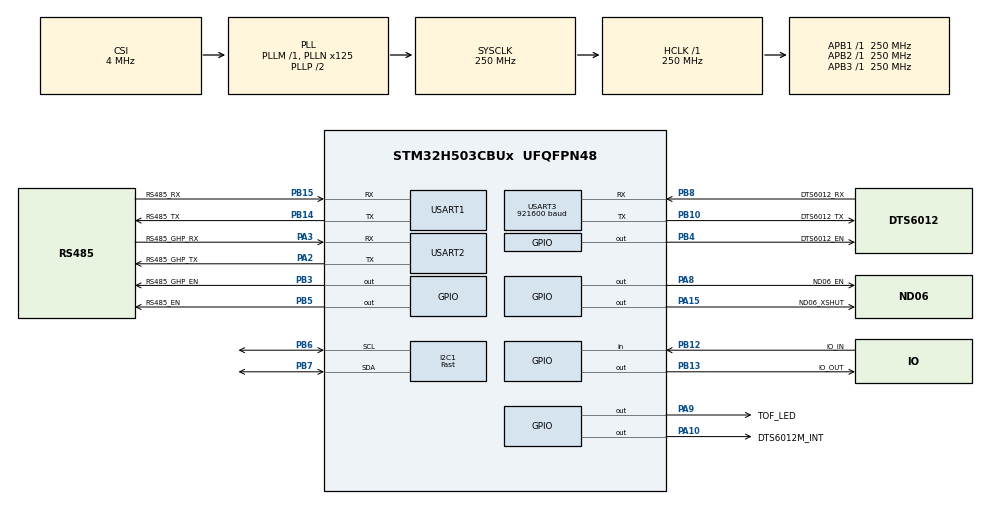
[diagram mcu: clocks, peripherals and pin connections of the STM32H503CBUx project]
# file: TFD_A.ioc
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BOOTPATH.BootPathName=LEGACY
BOOTPATH.UserSelectedBootPath=LEGACY
GPDMA1.CIRCULARMODE_GPDMACH0=ENABLE
GPDMA1.DESTINC_GPDMACH0=DMA_DINC_INCREMENTED
GPDMA1.IPHANDLE_GPDMACH0-SIMPLEREQUEST_GPDMACH0=__NULL
GPDMA1.PRIORITY_LL_CIRCULAR_GPDMACH0=DMA_LOW_PRIORITY_MID_WEIGHT
GPDMA1.REQUEST_GPDMACH0=GPDMA1_REQUEST_USART3_RX
I2C1.I2C_Fall_Time=300
I2C1.I2C_Rise_Time=300
I2C1.I2C_Speed_Mode=I2C_Fast
I2C1.Timing=0x70C81026
IWDG.Prescaler=IWDG_PRESCALER_256
IWDG.Reload=128
IWDG.Window=256
Mcu.Family=STM32H5
Mcu.Name=STM32H503CBUx
Mcu.Package=UFQFPN48
NVIC.GPDMA1_Channel0_IRQn=true\:0\:0\:false\:false\:true\:false\:true\:true
NVIC.PriorityGroup=NVIC_PRIORITYGROUP_4
NVIC.USART1_IRQn=true\:2\:0\:true\:false\:true\:true\:true\:true
NVIC.USART2_IRQn=true\:1\:0\:true\:false\:true\:true\:true\:true
NVIC.USART3_IRQn=true\:0\:0\:false\:false\:true\:true\:true\:true
PA10.GPIO_Label=DTS6012M_INT
PA10.GPIO_PuPd=GPIO_PULLDOWN
PA10.Signal=GPIO_Output
PA15(JTDI).GPIO_Label=ND06_XSHUT
PA15(JTDI).Signal=GPIO_Output
PA2.GPIO_Label=RS485_GHP_TX
PA2.GPIO_ModeDefaultPP=GPIO_MODE_AF_PP
PA2.GPIO_PuPd=GPIO_NOPULL
PA2.GPIO_Speed=GPIO_SPEED_FREQ_LOW
PA2.Mode=Asynchronous
PA2.Signal=USART2_TX
PA3.GPIO_Label=RS485_GHP_RX
PA3.GPIO_ModeDefaultPP=GPIO_MODE_AF_PP
PA3.GPIO_PuPd=GPIO_NOPULL
PA3.GPIO_Speed=GPIO_SPEED_FREQ_LOW
PA3.Mode=Asynchronous
PA3.Signal=USART2_RX
PA8.GPIO_Label=ND06_EN
PA8.Signal=GPIO_Output
PA9.GPIO_Label=TOF_LED
PA9.PinState=GPIO_PIN_SET
PA9.Signal=GPIO_Output
PB10.GPIO_Label=DTS6012_TX
PB10.GPIO_ModeDefaultPP=GPIO_MODE_AF_PP
PB10.GPIO_PuPd=GPIO_PULLDOWN
PB10.Mode=Asynchronous
PB10.Signal=USART3_TX
PB12.GPIO_Label=IO_IN
PB12.Signal=GPIO_Input
PB13.GPIO_Label=IO_OUT
PB13.GPIO_Speed=GPIO_SPEED_FREQ_HIGH
PB13.PinState=GPIO_PIN_SET
PB13.Signal=GPIO_Output
PB14.GPIO_Label=RS485_TX
PB14.GPIO_ModeDefaultPP=GPIO_MODE_AF_PP
PB14.GPIO_PuPd=GPIO_NOPULL
PB14.GPIO_Speed=GPIO_SPEED_FREQ_LOW
PB14.Mode=Asynchronous
PB14.Signal=USART1_TX
PB15.GPIO_Label=RS485_RX
PB15.GPIO_ModeDefaultPP=GPIO_MODE_AF_PP
PB15.GPIO_PuPd=GPIO_NOPULL
PB15.GPIO_Speed=GPIO_SPEED_FREQ_LOW
PB15.Mode=Asynchronous
PB15.Signal=USART1_RX
PB3(JTDO/TRACESWO).GPIO_Label=RS485_GHP_EN
PB3(JTDO/TRACESWO).GPIO_Speed=GPIO_SPEED_FREQ_HIGH
PB3(JTDO/TRACESWO).Signal=GPIO_Output
PB4(NJTRST).GPIO_Label=DTS6012_EN
PB4(NJTRST).Signal=GPIO_Output
PB5.GPIO_Label=RS485_EN
PB5.GPIO_PuPd=GPIO_PULLUP
PB5.GPIO_Speed=GPIO_SPEED_FREQ_HIGH
PB5.Signal=GPIO_Output
PB6.Mode=I2C
PB6.Signal=I2C1_SCL
PB7.Mode=I2C
PB7.Signal=I2C1_SDA
PB8.GPIO_FM8=SBS_FASTMODEPLUS_PB8
PB8.GPIO_Label=DTS6012_RX
PB8.GPIO_ModeDefaultPP=GPIO_MODE_AF_PP
PB8.GPIO_PuPd=GPIO_NOPULL
PB8.GPIO_Speed=GPIO_SPEED_FREQ_HIGH
PB8.Mode=Asynchronous
PB8.Signal=USART3_RX
ProjectManager.HeapSize=0x200
ProjectManager.StackSize=0x400
ProjectManager.TargetToolchain=MDK-ARM V5.37
RCC.ADCFreq_Value=250000000
RCC.AHBFreq_Value=250000000
RCC.APB1Freq_Value=250000000
RCC.APB1TimFreq_Value=250000000
RCC.APB2Freq_Value=250000000
RCC.APB2TimFreq_Value=250000000
RCC.APB3Freq_Value=250000000
RCC.CSI_VALUE=4000000
RCC.CortexFreq_Value=250000000
RCC.EPOD_VALUE=4000000
RCC.HCLKFreq_Value=250000000
RCC.HSE_VALUE=25000000
RCC.HSI48_VALUE=48000000
RCC.HSI_VALUE=64000000
RCC.LSE_VALUE=32768
RCC.LSIRC_VALUE=32000
RCC.PLLFRACN=0
RCC.PLLN=125
RCC.SYSCLKFreq_VALUE=250000000
RCC.SYSCLKSource=RCC_SYSCLKSOURCE_PLLCLK
RCC.USBFreq_Value=48000000
RCC.VCOOutputFreq_Value=500000000
USART1.VirtualMode-Asynchronous=VM_ASYNC
USART2.VirtualMode-Asynchronous=VM_ASYNC
USART3.BaudRate=921600
USART3.OverrunDisableParam=ADVFEATURE_OVERRUN_DISABLE
USART3.VirtualMode-Asynchronous=VM_ASYNC
VP_BOOTPATH_VS_BOOTPATH.Mode=BP_Activate
VP_CORTEX_M33_NS_VS_Hclk.Mode=Hclk_Mode
VP_GPDMA1_VS_GPDMACH0.Mode=SIMPLEREQUEST_GPDMACH0
VP_ICACHE_VS_ICACHE.Mode=DirectMappedCache
VP_IWDG_VS_IWDG.Mode=IWDG_Activate
VP_MEMORYMAP_VS_MEMORYMAP.Mode=CurAppReg
VP_PWR_VS_DBSignals.Mode=DisableDeadBatterySignals
VP_PWR_VS_LPOM.Mode=PowerOptimisation
VP_PWR_VS_SECSignals.Mode=Security/Privilege
VP_RTC_VS_RTC_Activate.Mode=RTC_Enabled
board=custom

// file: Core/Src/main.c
/* USER CODE BEGIN Header */
/**
 ******************************************************************************
 * @file           : main.c
 * @brief          : Main program body
 ******************************************************************************
 * @attention
 *
 * Copyright (c) 2025 STMicroelectronics.
 * All rights reserved.
 *
 * This software is licensed under terms that can be found in the LICENSE file
 * in the root directory of this software component.
 * If no LICENSE file comes with this software, it is provided AS-IS.
 *
 ******************************************************************************
 */
/* USER CODE END Header */
#include "main.h"
#include "gpdma.h"
#include "i2c.h"
#include "icache.h"
#include "iwdg.h"
#include "memorymap.h"
#include "rtc.h"
#include "usart.h"
#include "gpio.h"

/* USER CODE BEGIN Includes */

#include "PDA_Communication.h"
#include "dts6012m.h"
#include "elevatorSignalMonitor.h"
#include "nd06av1c_app.h"
#include "nd06av1c_comm.h"
#include "nd06av1c_data.h"
#include "nd06av1c_def.h"
#include "nd06av1c_dev.h"
#include "platform.h"
#include "rs485.h"
#include "sensorAppLogic.h"
#include "sensorParaTable.h"
#include "stdbool.h"
#include "string.h"
#include "usart.h"
#include <stdio.h>
#include "toolingtest.h"
/* USER CODE END Includes */

void SystemClock_Config(void);
/* USER CODE BEGIN PFP */
uint8_t rxBuf[RX_BUF_SIZE];
uint16_t receivedLength = 0;
uint8_t cargoLift_IN = 0;
uint8_t isToolingTest = 1;
uint8_t waitToolingTimes = 0;
uint8_t toolingHandShakeGoal[10] = {0XAC, 0x01, 0x12, 0x23, 0x34, 0x45, 0x56, 0x67, 0x78, 0x89};
uint8_t toolingHandShake[30];
uint32_t lastReceivedDTS6012Time = 0;
uint8_t noDataDTS6012TimeoutFlag = 0;
/* USER CODE END PFP */

int main(void)
{

  /* USER CODE BEGIN 1 */
  uint8_t respToolingHS[20] = {0xcc, 0XCF, 0XCF, 0XCF, 0,
                               1, 2, 3, 0XCF, 0XCF,
                               4, 5, 6, 0XCF, 0XCF,
                               7, 8, 9, 0XCF, 0XCF};
  /* USER CODE END 1 */

  /* MCU Configuration--------------------------------------------------------*/

  /* Reset of all peripherals, Initializes the Flash interface and the Systick. */
  HAL_Init();

  /* Configure the system clock */
  SystemClock_Config();

  /* Initialize all configured peripherals */
  MX_GPIO_Init();
  MX_GPDMA1_Init();
  MX_ICACHE_Init();
  MX_RTC_Init();
  HAL_Delay(1000);
  MX_I2C1_Init();
  // MX_USART1_UART_Init();
  TOOLING_USART1_UART_Init();
  MX_USART2_UART_Init();
  // paraTable_Reset();
  paraTable_Init();
  MX_IWDG_Init();

  MX_USART3_UART_Init();
  /* USER CODE BEGIN 2 */
  HAL_UART_DeInit(&huart3); //
  MX_GPIO_DTS6012_Init();
  HAL_GPIO_WritePin(DTS6012_EN_GPIO_Port, DTS6012_EN_Pin, 0); //
  HAL_GPIO_WritePin(ND06_EN_GPIO_Port, ND06_EN_Pin, 0);       //
  HAL_Delay(500);
  HAL_GPIO_WritePin(DTS6012_EN_GPIO_Port, DTS6012_EN_Pin, 1); //
  HAL_GPIO_WritePin(ND06_EN_GPIO_Port, ND06_EN_Pin, 1);
  HAL_Delay(500);
  HAL_IWDG_Refresh(&hiwdg);
  HAL_Delay(1000);
  HAL_IWDG_Refresh(&hiwdg);

  MX_USART3_UART_Init();

  ND06AV1C_Init();
  dts6012_start();

  memset(rxBuf, 0, RX_BUF_SIZE);
  HAL_UART_Receive_DMA(&huart3, rxBuf, RX_BUF_SIZE);
  __HAL_UART_ENABLE_IT(&huart3, UART_IT_IDLE);

	// init DTS6012 receive time log
	lastReceivedDTS6012Time = HAL_GetTick();
  noDataDTS6012TimeoutFlag = 0;

  HAL_GPIO_WritePin(RS485_EN_GPIO_Port, RS485_EN_Pin, GPIO_PIN_RESET);
  HAL_StatusTypeDef handShankeResult = HAL_UART_Receive(&huart1, toolingHandShake, 30, 400);

  if (handShankeResult == HAL_OK)
  {
    if (checkSequenceMatch(toolingHandShake) == 0)
    {
      isToolingTest = 0;
    }
  }
  else
  {
    isToolingTest = 0;
  }

  if (isToolingTest == 1)
  {
    HAL_Delay(50);
    HAL_GPIO_WritePin(RS485_EN_GPIO_Port, RS485_EN_Pin, GPIO_PIN_SET);
    HAL_UART_Transmit(&huart1, respToolingHS, 20, 5);
    HAL_GPIO_WritePin(RS485_EN_GPIO_Port, RS485_EN_Pin, GPIO_PIN_RESET);
  }

  /* USER CODE END 2 */

  /* Infinite loop */
  while (1)
  {

    if (isToolingTest == 1)
    {
      ToolingTest();
    }
    else
    {
      normalWork();
    }
  }
}

void SystemClock_Config(void)
{
  RCC_OscInitTypeDef RCC_OscInitStruct = {0};
  RCC_ClkInitTypeDef RCC_ClkInitStruct = {0};

  /** Configure the main internal regulator output voltage
   */
  __HAL_PWR_VOLTAGESCALING_CONFIG(PWR_REGULATOR_VOLTAGE_SCALE0);

  while (!__HAL_PWR_GET_FLAG(PWR_FLAG_VOSRDY))
  {
  }

  /** Initializes the RCC Oscillators according to the specified parameters
   * in the RCC_OscInitTypeDef structure.
   */
  RCC_OscInitStruct.OscillatorType = RCC_OSCILLATORTYPE_LSI | RCC_OSCILLATORTYPE_CSI;
  RCC_OscInitStruct.LSIState = RCC_LSI_ON;
  RCC_OscInitStruct.CSIState = RCC_CSI_ON;
  RCC_OscInitStruct.CSICalibrationValue = RCC_CSICALIBRATION_DEFAULT;
  RCC_OscInitStruct.PLL.PLLState = RCC_PLL_ON;
  RCC_OscInitStruct.PLL.PLLSource = RCC_PLL1_SOURCE_CSI;
  RCC_OscInitStruct.PLL.PLLM = 1;
  RCC_OscInitStruct.PLL.PLLN = 125;
  RCC_OscInitStruct.PLL.PLLP = 2;
  RCC_OscInitStruct.PLL.PLLQ = 2;
  RCC_OscInitStruct.PLL.PLLR = 2;
  RCC_OscInitStruct.PLL.PLLRGE = RCC_PLL1_VCIRANGE_2;
  RCC_OscInitStruct.PLL.PLLVCOSEL = RCC_PLL1_VCORANGE_WIDE;
  RCC_OscInitStruct.PLL.PLLFRACN = 0;
  if (HAL_RCC_OscConfig(&RCC_OscInitStruct) != HAL_OK)
  {
    Error_Handler();
  }

  /** Initializes the CPU, AHB and APB buses clocks
   */
  RCC_ClkInitStruct.ClockType = RCC_CLOCKTYPE_HCLK | RCC_CLOCKTYPE_SYSCLK | RCC_CLOCKTYPE_PCLK1 | RCC_CLOCKTYPE_PCLK2 | RCC_CLOCKTYPE_PCLK3;
  RCC_ClkInitStruct.SYSCLKSource = RCC_SYSCLKSOURCE_PLLCLK;
  RCC_ClkInitStruct.AHBCLKDivider = RCC_SYSCLK_DIV1;
  RCC_ClkInitStruct.APB1CLKDivider = RCC_HCLK_DIV1;
  RCC_ClkInitStruct.APB2CLKDivider = RCC_HCLK_DIV1;
  RCC_ClkInitStruct.APB3CLKDivider = RCC_HCLK_DIV1;

  if (HAL_RCC_ClockConfig(&RCC_ClkInitStruct, FLASH_LATENCY_5) != HAL_OK)
  {
    Error_Handler();
  }

  /** Configure the programming delay
   */
  __HAL_FLASH_SET_PROGRAM_DELAY(FLASH_PROGRAMMING_DELAY_2);
}

/* USER CODE BEGIN 4 */
uint8_t getIN_IO = 0;
void ToolingTest()
{
  HAL_IWDG_Refresh(&hiwdg);
  LEDON;
  testIO();
  initTooling();

  HAL_GPIO_WritePin(RS485_EN_GPIO_Port, RS485_EN_Pin, GPIO_PIN_RESET);
  HAL_UART_Receive_IT(&huart1, &rxDBuffTooling1[rxIndexTooling], 1);

  HAL_GPIO_WritePin(RS485_GHP_EN_GPIO_Port, RS485_GHP_EN_Pin, GPIO_PIN_RESET);
  HAL_UART_Receive_IT(&huart2, &rxDBuffTooling2[rxIndexTooling2], 1);

  while (1)
  {
    if (TIME_10MS_FLAG == 1)
    {
      TIME_10MS_FLAG = 0;

      testInX();
    }

    if (TIME_1S_FLAG == 1)
    {
      TIME_1S_FLAG = 0;
      dts6012_start();
      HAL_IWDG_Refresh(&hiwdg);
    }
  }
  LEDOFF;
}

uint16_t cargoLiftIN_LastTime = 0;
void normalWork()
{
  MX_USART1_UART_Init();
  MX_USART2_UART_Init();
  HAL_GPIO_WritePin(IO_OUT_GPIO_Port, IO_OUT_Pin, GPIO_PIN_RESET);
  LEDOFF;
  HAL_IWDG_Refresh(&hiwdg);

  RS485_PDA_RX_ENABLE();
  HAL_UART_Receive_IT(&RS485_PDA_USART, rxDBuffPDA, 1);

  RS485_Elevator_Init();

  while (1)
  {

    switch (PARA_TABLE_USE.data.functionChioce)
    {
    case 0x11:
    {
      if (TIME_1MS_FLAG == 1)
      {
        TIME_1MS_FLAG = 0;
      }
      if (TIME_5MS_FLAG == 1)
      {
        TIME_5MS_FLAG = 0;
        sensor_action_control();
      }
      if (TIME_10MS_FLAG == 1)
      {
        TIME_10MS_FLAG = 0;

        UpdateDoorStateMachine();
        ElevatorSignaMonitoring();
        sensor_status_control();
      }
      if (TIME_100MS_FLAG == 1)
      {
        TIME_100MS_FLAG = 0;
      }
      if (TIME_1S_FLAG == 1)
      {
        TIME_1S_FLAG = 0;
        dts6012_start();
				CheckUART_Timeout();
				CheckEleCommunication_Timeout();
				CheckND06UnderEXP();

        HAL_IWDG_Refresh(&hiwdg);
      }
      break;
    }
    case 0x22: //
    {
      if (TIME_1MS_FLAG == 1)
      {
        TIME_1MS_FLAG = 0;
      }
      if (TIME_5MS_FLAG == 1)
      {
        TIME_5MS_FLAG = 0;
				if(PARA_TABLE_USE.data.programVerison != 0x0666)
				{
					cargoLift_IN = (HAL_GPIO_ReadPin(IO_IN_GPIO_Port, IO_IN_Pin) == GPIO_PIN_RESET) ? 1 : 0;
					if(cargoLift_IN == 1)
					{
						cargoLiftIN_LastTime++;
						if(cargoLiftIN_LastTime >= 24000) // two minutes 2*60*1000/5 = 24000
						{
							E006 = 1;
						}
						else
						{
							E006 = 0;
						}
					}
					else
					{
						cargoLiftIN_LastTime = 0;
						E006 = 0;
					}
				}
				else
				{
					cargoLift_IN =1;
				}
//				sensor_status = cargoLift_IN == 1 ? NormalWorking_STATUS : Idle_STATUS;
				IdleFlg = cargoLift_IN == 1 ? 0 : 1;
        cargoLift_sensor_action_control();
      }
      if (TIME_10MS_FLAG == 1)
      {
        TIME_10MS_FLAG = 0;
        cargoLift_sensor_status_control();
      }
      if (TIME_100MS_FLAG == 1)
      {
        TIME_100MS_FLAG = 0;
      }
      if (TIME_1S_FLAG == 1)
			{
        TIME_1S_FLAG = 0;
        dts6012_start();
				CheckUART_Timeout();
				CheckND06UnderEXP();

        HAL_IWDG_Refresh(&hiwdg);
      }
      break;
    }
    default:
      break;
    }
  }
}
DTS6012_DATA dts6012_DMAdata[] = {0, 0, 0, 0};
uint32_t e65535Times = 0;
void ProcessDTSDMAData(uint8_t *data, uint16_t length)
{
  if ((data[0] == 0xA5) && (data[1] == 0x03) && (data[2] == 0x20))
  {
    dts6012_DMAdata->firstPeakDistance = (data[14] << 8) | (data[13]);
    dts6012_DMAdata->firstPeakAmp = (data[18] << 8) | (data[17]);
    dts6012_DMAdata->secondPeakDistance = (data[8] << 8) | (data[7]);
    dts6012_DMAdata->secondPeakAmp = (data[12] << 8) | (data[11]);

		if((dts6012_DMAdata->firstPeakDistance == 65535) && (dts6012_DMAdata->secondPeakDistance  == 65535))
		{
			e65535Times++;
			E004 =e65535Times > 1500 ? 1 : 0;
		}
		else
		{
			e65535Times = 0;
			E004 = 0;
		}
  }
}

int8_t checkSequenceMatch(const uint8_t received[30])
{
  const uint8_t target[10] = {0XAC, 0x01, 0x12, 0x23, 0x34, 0x45, 0x56, 0x67, 0x78, 0x89};

  for (int8_t start_recv = 0; start_recv <= 20; start_recv++)
  {
    int8_t match_length = 0;
    int8_t i = 0;

    while (start_recv + i < 30 && i < 10 && received[start_recv + i] == target[i])
    {
      match_length++;
      i++;
    }

    if (match_length >= 10)
    {
      return 1;
    }
  }

  return 0;
}

void CheckUART_Timeout(void)
{
  uint32_t currentTime = HAL_GetTick();

  if ((currentTime - lastReceivedDTS6012Time >= NO_DTSDATA_TIMEOUT_MS) &&
      (noDataDTS6012TimeoutFlag == 0))
  {
    noDataDTS6012TimeoutFlag = 1;  //
  }
	E003 = noDataDTS6012TimeoutFlag == 1? 1 : 0;
}

void CheckEleCommunication_Timeout(void)
{
	int32_t currentTime = HAL_GetTick();
  // 40ms*5
  if ((currentTime - lastReceivedELETime >= 2000) &&
      (E005 == 0))
  {
    E005 = 1;  //
  }

}

void CheckND06UnderEXP(void)
{
	if(over30s == 1 )
	{
		E002 = 1;
	}
	else
	{
		E002 = 0;
	}
}
/* USER CODE END 4 */

void Error_Handler(void)
{
  __disable_irq();
  while (1)
  {
  }
}
